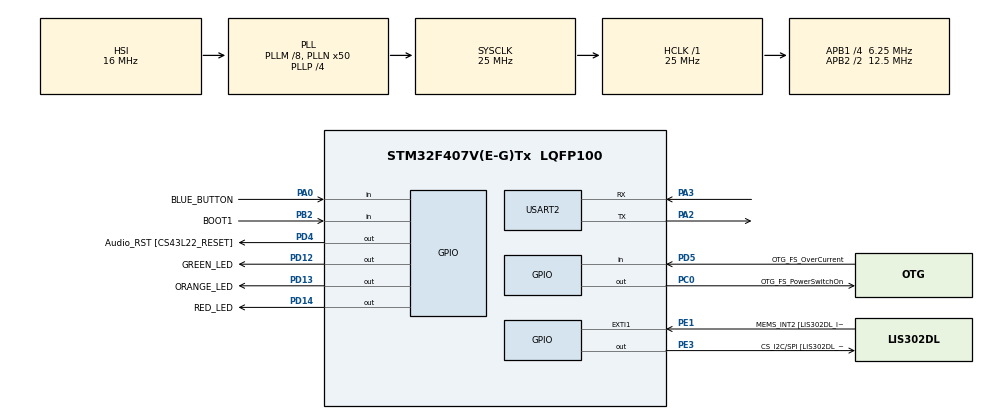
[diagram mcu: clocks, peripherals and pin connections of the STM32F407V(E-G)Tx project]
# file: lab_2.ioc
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Mcu.Family=STM32F4
Mcu.Name=STM32F407V(E-G)Tx
Mcu.Package=LQFP100
NVIC.PriorityGroup=NVIC_PRIORITYGROUP_4
NVIC.TIM7_IRQn=true\:0\:0\:false\:false\:true\:false\:true\:true
NVIC.TimeBase=TIM7_IRQn
NVIC.TimeBaseIP=TIM7
PA0-WKUP.GPIO_Label=BLUE_BUTTON
PA0-WKUP.Signal=GPIO_Input
PA10.GPIO_Label=OTG_FS_ID
PA10.GPIO_Mode=GPIO_MODE_AF_PP
PA10.GPIO_PuPd=GPIO_NOPULL
PA10.GPIO_Speed=GPIO_SPEED_FREQ_LOW
PA10.Signal=USB_OTG_FS_ID
PA11.GPIO_Label=OTG_FS_DM
PA11.GPIO_Mode=GPIO_MODE_AF_PP
PA11.GPIO_PuPd=GPIO_NOPULL
PA11.GPIO_Speed=GPIO_SPEED_FREQ_LOW
PA11.Signal=USB_OTG_FS_DM
PA12.GPIO_Label=OTG_FS_DP
PA12.GPIO_Mode=GPIO_MODE_AF_PP
PA12.GPIO_PuPd=GPIO_NOPULL
PA12.GPIO_Speed=GPIO_SPEED_FREQ_LOW
PA12.Signal=USB_OTG_FS_DP
PA13.GPIO_Label=SWDIO
PA13.Mode=Serial_Wire
PA13.Signal=SYS_JTMS-SWDIO
PA14.GPIO_Label=SWCLK
PA14.Mode=Serial_Wire
PA14.Signal=SYS_JTCK-SWCLK
PA2.Mode=Asynchronous
PA2.Signal=USART2_TX
PA3.Mode=Asynchronous
PA3.Signal=USART2_RX
PA4.GPIO_Label=I2S3_WS [CS43L22_LRCK]
PA4.GPIO_Mode=GPIO_MODE_AF_PP
PA4.GPIO_PuPd=GPIO_NOPULL
PA4.GPIO_Speed=GPIO_SPEED_FREQ_LOW
PA4.Signal=I2S3_WS
PA5.GPIO_Label=SPI1_SCK [LIS302DL_SCL/SPC]
PA5.GPIO_Mode=GPIO_MODE_AF_PP
PA5.GPIO_PuPd=GPIO_NOPULL
PA5.GPIO_Speed=GPIO_SPEED_FREQ_LOW
PA5.Signal=SPI1_SCK
PA6.GPIO_Label=SPI1_MISO [LIS302DL_SDO]
PA6.GPIO_Mode=GPIO_MODE_AF_PP
PA6.GPIO_PuPd=GPIO_NOPULL
PA6.GPIO_Speed=GPIO_SPEED_FREQ_LOW
PA6.Signal=SPI1_MISO
PA7.GPIO_Label=SPI1_MOSI [LIS302DL_SDA/SDI/SDO]
PA7.GPIO_Mode=GPIO_MODE_AF_PP
PA7.GPIO_PuPd=GPIO_NOPULL
PA7.GPIO_Speed=GPIO_SPEED_FREQ_LOW
PA7.Signal=SPI1_MOSI
PA9.GPIO_Label=VBUS_FS
PA9.GPIO_Mode=GPIO_MODE_INPUT
PA9.GPIO_PuPd=GPIO_NOPULL
PA9.Signal=USB_OTG_FS_VBUS
PB10.GPIO_Label=CLK_IN [MP45DT02_CLK]
PB10.GPIO_Mode=GPIO_MODE_AF_PP
PB10.GPIO_PuPd=GPIO_NOPULL
PB10.GPIO_Speed=GPIO_SPEED_FREQ_LOW
PB10.Signal=I2S2_CK
PB2.GPIO_Label=BOOT1
PB2.GPIO_Mode=GPIO_MODE_INPUT
PB2.GPIO_PuPd=GPIO_NOPULL
PB2.Signal=GPIO_Input
PB3.GPIO_Label=SWO
PB3.Signal=SYS_JTDO-SWO
PB6.GPIO_Label=Audio_SCL [CS43L22_SCL]
PB6.GPIO_Mode=GPIO_MODE_AF_OD
PB6.GPIO_PuPd=GPIO_NOPULL
PB6.GPIO_Speed=GPIO_SPEED_FREQ_LOW
PB6.Signal=I2C1_SCL
PB9.GPIO_Label=Audio_SDA [CS43L22_SDA]
PB9.GPIO_Mode=GPIO_MODE_AF_OD
PB9.GPIO_PuPd=GPIO_NOPULL
PB9.GPIO_Speed=GPIO_SPEED_FREQ_LOW
PB9.Signal=I2C1_SDA
PC0.GPIO_Label=OTG_FS_PowerSwitchOn
PC0.GPIO_PuPd=GPIO_NOPULL
PC0.GPIO_Speed=GPIO_SPEED_FREQ_LOW
PC0.PinState=GPIO_PIN_SET
PC0.Signal=GPIO_Output
PC10.GPIO_Label=I2S3_SCK [CS43L22_SCLK]
PC10.GPIO_Mode=GPIO_MODE_AF_PP
PC10.GPIO_PuPd=GPIO_NOPULL
PC10.GPIO_Speed=GPIO_SPEED_FREQ_LOW
PC10.Signal=I2S3_CK
PC12.GPIO_Label=I2S3_SD [CS43L22_SDIN]
PC12.GPIO_Mode=GPIO_MODE_AF_PP
PC12.GPIO_PuPd=GPIO_NOPULL
PC12.GPIO_Speed=GPIO_SPEED_FREQ_LOW
PC12.Signal=I2S3_SD
PC14-OSC32_IN.GPIO_Label=PC14-OSC32_IN
PC14-OSC32_IN.Signal=RCC_OSC32_IN
PC15-OSC32_OUT.GPIO_Label=PC15-OSC32_OUT
PC15-OSC32_OUT.Signal=RCC_OSC32_OUT
PC3.GPIO_Label=PDM_OUT [MP45DT02_DOUT]
PC3.GPIO_Mode=GPIO_MODE_AF_PP
PC3.GPIO_PuPd=GPIO_NOPULL
PC3.GPIO_Speed=GPIO_SPEED_FREQ_LOW
PC3.Signal=I2S2_SD
PC7.GPIO_Label=I2S3_MCK [CS43L22_MCLK]
PC7.GPIO_Mode=GPIO_MODE_AF_PP
PC7.GPIO_PuPd=GPIO_NOPULL
PC7.GPIO_Speed=GPIO_SPEED_FREQ_LOW
PC7.Signal=I2S3_MCK
PD12.GPIO_Label=GREEN_LED
PD12.Signal=GPIO_Output
PD13.GPIO_Label=ORANGE_LED
PD13.Signal=GPIO_Output
PD14.GPIO_Label=RED_LED
PD14.Signal=GPIO_Output
PD4.GPIO_Label=Audio_RST [CS43L22_RESET]
PD4.GPIO_PuPd=GPIO_NOPULL
PD4.GPIO_Speed=GPIO_SPEED_FREQ_LOW
PD4.Signal=GPIO_Output
PD5.GPIO_Label=OTG_FS_OverCurrent
PD5.GPIO_Mode=GPIO_MODE_INPUT
PD5.GPIO_PuPd=GPIO_NOPULL
PD5.Signal=GPIO_Input
PE1.GPIO_Label=MEMS_INT2 [LIS302DL_INT2]
PE1.GPIO_ModeDefaultEXTI=GPIO_MODE_EVT_RISING
PE1.GPIO_PuPd=GPIO_NOPULL
PE1.Signal=GPXTI1
PE3.GPIO_Label=CS_I2C/SPI [LIS302DL_CS_I2C/SPI]
PE3.GPIO_PuPd=GPIO_NOPULL
PE3.GPIO_Speed=GPIO_SPEED_FREQ_LOW
PE3.Signal=GPIO_Output
PH0-OSC_IN.GPIO_Label=PH0-OSC_IN
PH0-OSC_IN.Signal=RCC_OSC_IN
PH1-OSC_OUT.GPIO_Label=PH1-OSC_OUT
PH1-OSC_OUT.Signal=RCC_OSC_OUT
ProjectManager.HeapSize=0x200
ProjectManager.StackSize=0x400
ProjectManager.TargetToolchain=STM32CubeIDE
RCC.48MHZClocksFreq_Value=14285714.285714285
RCC.AHBFreq_Value=25000000
RCC.APB1CLKDivider=RCC_HCLK_DIV4
RCC.APB1Freq_Value=6250000
RCC.APB1TimFreq_Value=12500000
RCC.APB2CLKDivider=RCC_HCLK_DIV2
RCC.APB2Freq_Value=12500000
RCC.APB2TimFreq_Value=25000000
RCC.CortexFreq_Value=25000000
RCC.HCLKFreq_Value=25000000
RCC.HSE_VALUE=8000000
RCC.HSI_VALUE=16000000
RCC.LSE_VALUE=32768
RCC.PLLM=8
RCC.PLLN=50
RCC.PLLP=RCC_PLLP_DIV4
RCC.PLLQ=7
RCC.SYSCLKFreq_VALUE=25000000
RCC.SYSCLKSource=RCC_SYSCLKSOURCE_PLLCLK
RCC.VCOOutputFreq_Value=100000000
USART2.VirtualMode=VM_ASYNC
VP_SYS_VS_tim7.Mode=TIM7
board=STM32F407G-DISC1

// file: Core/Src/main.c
/* USER CODE BEGIN Header */
/**
  ******************************************************************************
  * @file           : main.c
  * @brief          : Main program body
  ******************************************************************************
  * @attention
  *
  * Copyright (c) 2026 STMicroelectronics.
  * All rights reserved.
  *
  * This software is licensed under terms that can be found in the LICENSE file
  * in the root directory of this software component.
  * If no LICENSE file comes with this software, it is provided AS-IS.
  *
  ******************************************************************************
  */
/* USER CODE END Header */
#include "main.h"

/* USER CODE BEGIN Includes */
#include "FreeRTOS.h"
#include "task.h"
#include "queue.h"
/* USER CODE END Includes */

UART_HandleTypeDef huart2;

/* USER CODE BEGIN PV */
TaskHandle_t xLEDTaskHandle=NULL;
QueueHandle_t xStateQueue=NULL;

/* USER CODE END PV */

void SystemClock_Config(void);
static void MX_GPIO_Init(void);
static void MX_USART2_UART_Init(void);

/* USER CODE BEGIN 0 */
void TaskMonitor_App(void *pvParameters);
void Red_LED_App(void *pvParameters);
void Green_LED_App(void *pvParameters);
void Delay_App(void *pvParameters);
/* USER CODE END 0 */

int main(void)
{

  /* MCU Configuration--------------------------------------------------------*/

  /* Reset of all peripherals, Initializes the Flash interface and the Systick. */
  HAL_Init();

  /* Configure the system clock */
  SystemClock_Config();

  /* Initialize all configured peripherals */
  MX_GPIO_Init();
  MX_USART2_UART_Init();

  /* USER CODE BEGIN 2 */
  xTaskCreate(TaskMonitor_App, "Monitor", 256, NULL, 1, NULL);
  xTaskCreate(Red_LED_App, "Red_LED", 128, NULL, 2, NULL);
  xTaskCreate(Green_LED_App, "Green", 128, NULL, 3, NULL);
  xTaskCreate(Delay_App, "Delay", 128, NULL, 4, NULL);
  /* USER CODE END 2 */

  /* Infinite loop */
  /* USER CODE BEGIN WHILE */
  vTaskStartScheduler();
  while (1)
  {
    /* USER CODE END WHILE */

  }
}

void SystemClock_Config(void)
{
  RCC_OscInitTypeDef RCC_OscInitStruct = {0};
  RCC_ClkInitTypeDef RCC_ClkInitStruct = {0};

  /** Configure the main internal regulator output voltage
  */
  __HAL_RCC_PWR_CLK_ENABLE();
  __HAL_PWR_VOLTAGESCALING_CONFIG(PWR_REGULATOR_VOLTAGE_SCALE1);

  /** Initializes the RCC Oscillators according to the specified parameters
  * in the RCC_OscInitTypeDef structure.
  */
  RCC_OscInitStruct.OscillatorType = RCC_OSCILLATORTYPE_HSI;
  RCC_OscInitStruct.HSIState = RCC_HSI_ON;
  RCC_OscInitStruct.HSICalibrationValue = RCC_HSICALIBRATION_DEFAULT;
  RCC_OscInitStruct.PLL.PLLState = RCC_PLL_ON;
  RCC_OscInitStruct.PLL.PLLSource = RCC_PLLSOURCE_HSI;
  RCC_OscInitStruct.PLL.PLLM = 8;
  RCC_OscInitStruct.PLL.PLLN = 50;
  RCC_OscInitStruct.PLL.PLLP = RCC_PLLP_DIV4;
  RCC_OscInitStruct.PLL.PLLQ = 7;
  if (HAL_RCC_OscConfig(&RCC_OscInitStruct) != HAL_OK)
  {
    Error_Handler();
  }

  /** Initializes the CPU, AHB and APB buses clocks
  */
  RCC_ClkInitStruct.ClockType = RCC_CLOCKTYPE_HCLK|RCC_CLOCKTYPE_SYSCLK
                              |RCC_CLOCKTYPE_PCLK1|RCC_CLOCKTYPE_PCLK2;
  RCC_ClkInitStruct.SYSCLKSource = RCC_SYSCLKSOURCE_PLLCLK;
  RCC_ClkInitStruct.AHBCLKDivider = RCC_SYSCLK_DIV1;
  RCC_ClkInitStruct.APB1CLKDivider = RCC_HCLK_DIV4;
  RCC_ClkInitStruct.APB2CLKDivider = RCC_HCLK_DIV2;

  if (HAL_RCC_ClockConfig(&RCC_ClkInitStruct, FLASH_LATENCY_0) != HAL_OK)
  {
    Error_Handler();
  }
}

static void MX_USART2_UART_Init(void)
{

  huart2.Instance = USART2;
  huart2.Init.BaudRate = 115200;
  huart2.Init.WordLength = UART_WORDLENGTH_8B;
  huart2.Init.StopBits = UART_STOPBITS_1;
  huart2.Init.Parity = UART_PARITY_NONE;
  huart2.Init.Mode = UART_MODE_TX_RX;
  huart2.Init.HwFlowCtl = UART_HWCONTROL_NONE;
  huart2.Init.OverSampling = UART_OVERSAMPLING_16;
  if (HAL_UART_Init(&huart2) != HAL_OK)
  {
    Error_Handler();
  }

}

static void MX_GPIO_Init(void)
{
  GPIO_InitTypeDef GPIO_InitStruct = {0};

  /* GPIO Ports Clock Enable */
  __HAL_RCC_GPIOE_CLK_ENABLE();
  __HAL_RCC_GPIOC_CLK_ENABLE();
  __HAL_RCC_GPIOH_CLK_ENABLE();
  __HAL_RCC_GPIOA_CLK_ENABLE();
  __HAL_RCC_GPIOB_CLK_ENABLE();
  __HAL_RCC_GPIOD_CLK_ENABLE();

  /*Configure GPIO pin Output Level */
  HAL_GPIO_WritePin(CS_I2C_SPI_GPIO_Port, CS_I2C_SPI_Pin, GPIO_PIN_RESET);

  /*Configure GPIO pin Output Level */
  HAL_GPIO_WritePin(OTG_FS_PowerSwitchOn_GPIO_Port, OTG_FS_PowerSwitchOn_Pin, GPIO_PIN_SET);

  /*Configure GPIO pin Output Level */
  HAL_GPIO_WritePin(GPIOD, GREEN_LED_Pin|ORANGE_LED_Pin|RED_LED_Pin|Audio_RST_Pin, GPIO_PIN_RESET);

  /*Configure GPIO pin : CS_I2C_SPI_Pin */
  GPIO_InitStruct.Pin = CS_I2C_SPI_Pin;
  GPIO_InitStruct.Mode = GPIO_MODE_OUTPUT_PP;
  GPIO_InitStruct.Pull = GPIO_NOPULL;
  GPIO_InitStruct.Speed = GPIO_SPEED_FREQ_LOW;
  HAL_GPIO_Init(CS_I2C_SPI_GPIO_Port, &GPIO_InitStruct);

  /*Configure GPIO pin : OTG_FS_PowerSwitchOn_Pin */
  GPIO_InitStruct.Pin = OTG_FS_PowerSwitchOn_Pin;
  GPIO_InitStruct.Mode = GPIO_MODE_OUTPUT_PP;
  GPIO_InitStruct.Pull = GPIO_NOPULL;
  GPIO_InitStruct.Speed = GPIO_SPEED_FREQ_LOW;
  HAL_GPIO_Init(OTG_FS_PowerSwitchOn_GPIO_Port, &GPIO_InitStruct);

  /*Configure GPIO pin : PDM_OUT_Pin */
  GPIO_InitStruct.Pin = PDM_OUT_Pin;
  GPIO_InitStruct.Mode = GPIO_MODE_AF_PP;
  GPIO_InitStruct.Pull = GPIO_NOPULL;
  GPIO_InitStruct.Speed = GPIO_SPEED_FREQ_LOW;
  GPIO_InitStruct.Alternate = GPIO_AF5_SPI2;
  HAL_GPIO_Init(PDM_OUT_GPIO_Port, &GPIO_InitStruct);

  /*Configure GPIO pin : BLUE_BUTTON_Pin */
  GPIO_InitStruct.Pin = BLUE_BUTTON_Pin;
  GPIO_InitStruct.Mode = GPIO_MODE_INPUT;
  GPIO_InitStruct.Pull = GPIO_NOPULL;
  HAL_GPIO_Init(BLUE_BUTTON_GPIO_Port, &GPIO_InitStruct);

  /*Configure GPIO pin : I2S3_WS_Pin */
  GPIO_InitStruct.Pin = I2S3_WS_Pin;
  GPIO_InitStruct.Mode = GPIO_MODE_AF_PP;
  GPIO_InitStruct.Pull = GPIO_NOPULL;
  GPIO_InitStruct.Speed = GPIO_SPEED_FREQ_LOW;
  GPIO_InitStruct.Alternate = GPIO_AF6_SPI3;
  HAL_GPIO_Init(I2S3_WS_GPIO_Port, &GPIO_InitStruct);

  /*Configure GPIO pins : SPI1_SCK_Pin SPI1_MISO_Pin SPI1_MOSI_Pin */
  GPIO_InitStruct.Pin = SPI1_SCK_Pin|SPI1_MISO_Pin|SPI1_MOSI_Pin;
  GPIO_InitStruct.Mode = GPIO_MODE_AF_PP;
  GPIO_InitStruct.Pull = GPIO_NOPULL;
  GPIO_InitStruct.Speed = GPIO_SPEED_FREQ_LOW;
  GPIO_InitStruct.Alternate = GPIO_AF5_SPI1;
  HAL_GPIO_Init(GPIOA, &GPIO_InitStruct);

  /*Configure GPIO pin : BOOT1_Pin */
  GPIO_InitStruct.Pin = BOOT1_Pin;
  GPIO_InitStruct.Mode = GPIO_MODE_INPUT;
  GPIO_InitStruct.Pull = GPIO_NOPULL;
  HAL_GPIO_Init(BOOT1_GPIO_Port, &GPIO_InitStruct);

  /*Configure GPIO pin : CLK_IN_Pin */
  GPIO_InitStruct.Pin = CLK_IN_Pin;
  GPIO_InitStruct.Mode = GPIO_MODE_AF_PP;
  GPIO_InitStruct.Pull = GPIO_NOPULL;
  GPIO_InitStruct.Speed = GPIO_SPEED_FREQ_LOW;
  GPIO_InitStruct.Alternate = GPIO_AF5_SPI2;
  HAL_GPIO_Init(CLK_IN_GPIO_Port, &GPIO_InitStruct);

  /*Configure GPIO pins : GREEN_LED_Pin ORANGE_LED_Pin RED_LED_Pin Audio_RST_Pin */
  GPIO_InitStruct.Pin = GREEN_LED_Pin|ORANGE_LED_Pin|RED_LED_Pin|Audio_RST_Pin;
  GPIO_InitStruct.Mode = GPIO_MODE_OUTPUT_PP;
  GPIO_InitStruct.Pull = GPIO_NOPULL;
  GPIO_InitStruct.Speed = GPIO_SPEED_FREQ_LOW;
  HAL_GPIO_Init(GPIOD, &GPIO_InitStruct);

  /*Configure GPIO pins : I2S3_MCK_Pin I2S3_SCK_Pin I2S3_SD_Pin */
  GPIO_InitStruct.Pin = I2S3_MCK_Pin|I2S3_SCK_Pin|I2S3_SD_Pin;
  GPIO_InitStruct.Mode = GPIO_MODE_AF_PP;
  GPIO_InitStruct.Pull = GPIO_NOPULL;
  GPIO_InitStruct.Speed = GPIO_SPEED_FREQ_LOW;
  GPIO_InitStruct.Alternate = GPIO_AF6_SPI3;
  HAL_GPIO_Init(GPIOC, &GPIO_InitStruct);

  /*Configure GPIO pin : VBUS_FS_Pin */
  GPIO_InitStruct.Pin = VBUS_FS_Pin;
  GPIO_InitStruct.Mode = GPIO_MODE_INPUT;
  GPIO_InitStruct.Pull = GPIO_NOPULL;
  HAL_GPIO_Init(VBUS_FS_GPIO_Port, &GPIO_InitStruct);

  /*Configure GPIO pins : OTG_FS_ID_Pin OTG_FS_DM_Pin OTG_FS_DP_Pin */
  GPIO_InitStruct.Pin = OTG_FS_ID_Pin|OTG_FS_DM_Pin|OTG_FS_DP_Pin;
  GPIO_InitStruct.Mode = GPIO_MODE_AF_PP;
  GPIO_InitStruct.Pull = GPIO_NOPULL;
  GPIO_InitStruct.Speed = GPIO_SPEED_FREQ_LOW;
  GPIO_InitStruct.Alternate = GPIO_AF10_OTG_FS;
  HAL_GPIO_Init(GPIOA, &GPIO_InitStruct);

  /*Configure GPIO pin : OTG_FS_OverCurrent_Pin */
  GPIO_InitStruct.Pin = OTG_FS_OverCurrent_Pin;
  GPIO_InitStruct.Mode = GPIO_MODE_INPUT;
  GPIO_InitStruct.Pull = GPIO_NOPULL;
  HAL_GPIO_Init(OTG_FS_OverCurrent_GPIO_Port, &GPIO_InitStruct);

  /*Configure GPIO pins : Audio_SCL_Pin Audio_SDA_Pin */
  GPIO_InitStruct.Pin = Audio_SCL_Pin|Audio_SDA_Pin;
  GPIO_InitStruct.Mode = GPIO_MODE_AF_OD;
  GPIO_InitStruct.Pull = GPIO_NOPULL;
  GPIO_InitStruct.Speed = GPIO_SPEED_FREQ_LOW;
  GPIO_InitStruct.Alternate = GPIO_AF4_I2C1;
  HAL_GPIO_Init(GPIOB, &GPIO_InitStruct);

  /*Configure GPIO pin : MEMS_INT2_Pin */
  GPIO_InitStruct.Pin = MEMS_INT2_Pin;
  GPIO_InitStruct.Mode = GPIO_MODE_EVT_RISING;
  GPIO_InitStruct.Pull = GPIO_NOPULL;
  HAL_GPIO_Init(MEMS_INT2_GPIO_Port, &GPIO_InitStruct);

}

/* USER CODE BEGIN 4 */

void TaskMonitor_App(void *pvParameters){
    for(;;){
        Taskmonitor();
        vTaskDelay(1000);
    }
}

void Red_LED_App(void *pvParameters){
    uint32_t Redtimer = 800;
    for(;;){

        HAL_GPIO_TogglePin(GPIOD, GPIO_PIN_14);
        vTaskDelay(Redtimer);
        Redtimer += 1;
    }
}

void Green_LED_App(void *pvParameters){
    uint32_t Greentimer = 1000;
    for(;;){

        HAL_GPIO_TogglePin(GPIOD, GPIO_PIN_12);
        vTaskDelay(Greentimer);
        Greentimer += 2;
    }
}

void Delay_App(void *pvParameters){
    int delayflag = 0;
    uint32_t delaytime;
    while(1){
        if(delayflag == 0){
            delaytime = 1000;
            delayflag = 1;
        }else{
            delaytime = 0xFFFFFFFF;
        }
        vTaskDelay(delaytime);
    }
}

/* USER CODE END 4 */

void HAL_TIM_PeriodElapsedCallback(TIM_HandleTypeDef *htim)
{
  if (htim->Instance == TIM7) {
    HAL_IncTick();
  }
}

void Error_Handler(void)
{
  __disable_irq();
  while (1)
  {
  }
}
